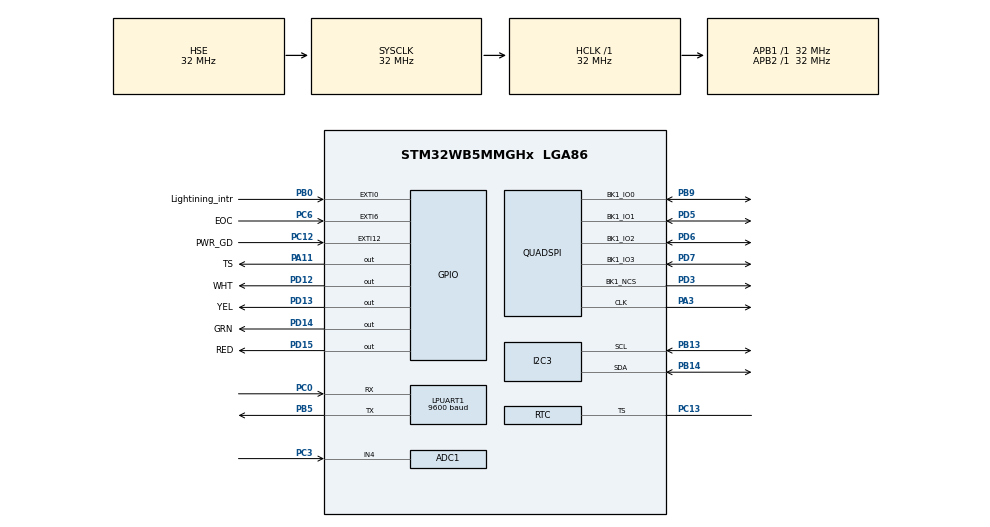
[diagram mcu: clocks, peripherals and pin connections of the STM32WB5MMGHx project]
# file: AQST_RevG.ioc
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ADC1.Channel-0\#ChannelRegularConversion=ADC_CHANNEL_4
ADC1.ClockPrescaler=ADC_CLOCK_SYNC_PCLK_DIV4
ADC1.ContinuousConvMode=DISABLE
ADC1.NbrOfConversion=1
ADC1.NbrOfConversionFlag=1
ADC1.SamplingTime-0\#ChannelRegularConversion=ADC_SAMPLETIME_92CYCLES_5
ADC1.master=1
Dma.ADC1.0.Direction=DMA_PERIPH_TO_MEMORY
Dma.ADC1.0.EventEnable=DISABLE
Dma.ADC1.0.Instance=DMA1_Channel1
Dma.ADC1.0.MemDataAlignment=DMA_MDATAALIGN_HALFWORD
Dma.ADC1.0.MemInc=DMA_MINC_ENABLE
Dma.ADC1.0.Mode=DMA_CIRCULAR
Dma.ADC1.0.PeriphDataAlignment=DMA_PDATAALIGN_HALFWORD
Dma.ADC1.0.PeriphInc=DMA_PINC_DISABLE
Dma.ADC1.0.Polarity=HAL_DMAMUX_REQ_GEN_RISING
Dma.ADC1.0.Priority=DMA_PRIORITY_HIGH
Dma.ADC1.0.RequestNumber=1
Dma.ADC1.0.SignalID=NONE
Dma.ADC1.0.SyncEnable=DISABLE
Dma.ADC1.0.SyncPolarity=HAL_DMAMUX_SYNC_NO_EVENT
Dma.ADC1.0.SyncRequestNumber=1
Dma.ADC1.0.SyncSignalID=NONE
Dma.Request0=ADC1
I2C3.Timing=0x00707CBB
LPUART1.BaudRate=9600
Mcu.Family=STM32WB
Mcu.Name=STM32WB5MMGHx
Mcu.Package=LGA86
NVIC.DMA1_Channel1_IRQn=true\:0\:0\:false\:false\:true\:false\:true\:true
NVIC.EXTI0_IRQn=true\:0\:0\:false\:false\:true\:true\:true\:true
NVIC.EXTI15_10_IRQn=true\:0\:0\:false\:false\:true\:true\:true\:true
NVIC.EXTI9_5_IRQn=true\:0\:0\:false\:false\:true\:true\:true\:true
NVIC.HSEM_IRQn=true\:0\:0\:false\:false\:true\:false\:true\:true
NVIC.IPCC_C1_RX_IRQn=true\:0\:0\:false\:false\:true\:true\:true\:true
NVIC.IPCC_C1_TX_IRQn=true\:0\:0\:false\:false\:true\:true\:true\:true
NVIC.PriorityGroup=NVIC_PRIORITYGROUP_4
NVIC.QUADSPI_IRQn=true\:0\:0\:false\:false\:true\:true\:true\:true
NVIC.RTC_WKUP_IRQn=true\:0\:0\:false\:false\:true\:true\:true\:true
NVIC.TAMP_STAMP_LSECSS_IRQn=true\:0\:0\:false\:false\:true\:true\:true\:true
PA11.GPIO_Label=TS
PA11.GPIO_ModeDefaultOutputPP=GPIO_MODE_OUTPUT_OD
PA11.GPIO_PuPd=GPIO_NOPULL
PA11.GPIO_Speed=GPIO_SPEED_FREQ_VERY_HIGH
PA11.PinState=GPIO_PIN_SET
PA11.Signal=GPIO_Output
PA3.Mode=Single Bank 1
PA3.Signal=QUADSPI_CLK
PB0.GPIO_Label=Lightining_intr
PB0.GPIO_PuPd=GPIO_PULLDOWN
PB0.Signal=GPXTI0
PB13.Mode=I2C
PB13.Signal=I2C3_SCL
PB14.Mode=I2C
PB14.Signal=I2C3_SDA
PB5.Mode=Asynchronous
PB5.Signal=LPUART1_TX
PB9.Mode=Single Bank 1
PB9.Signal=QUADSPI_BK1_IO0
PC0.Mode=Asynchronous
PC0.Signal=LPUART1_RX
PC12.GPIO_Label=PWR_GD
PC12.GPIO_ModeDefaultEXTI=GPIO_MODE_IT_RISING_FALLING
PC12.GPIO_PuPd=GPIO_NOPULL
PC12.Signal=GPXTI12
PC13.Mode=Timestamp enabled - Input Enabled to TS
PC13.Signal=RTC_TS
PC3.Signal=ADCx_IN4
PC6.GPIO_Label=EOC
PC6.GPIO_ModeDefaultEXTI=GPIO_MODE_IT_RISING_FALLING
PC6.Signal=GPXTI6
PD12.GPIO_Label=WHT
PD12.GPIO_Speed=GPIO_SPEED_FREQ_VERY_HIGH
PD12.PinState=GPIO_PIN_RESET
PD12.Signal=GPIO_Output
PD13.GPIO_Label=YEL
PD13.GPIO_Speed=GPIO_SPEED_FREQ_VERY_HIGH
PD13.PinState=GPIO_PIN_SET
PD13.Signal=GPIO_Output
PD14.GPIO_Label=GRN
PD14.PinState=GPIO_PIN_SET
PD14.Signal=GPIO_Output
PD15.GPIO_Label=RED
PD15.GPIO_Speed=GPIO_SPEED_FREQ_VERY_HIGH
PD15.PinState=GPIO_PIN_SET
PD15.Signal=GPIO_Output
PD3.Mode=Single Bank 1
PD3.Signal=QUADSPI_BK1_NCS
PD5.Mode=Single Bank 1
PD5.Signal=QUADSPI_BK1_IO1
PD6.Mode=Single Bank 1
PD6.Signal=QUADSPI_BK1_IO2
PD7.Mode=Single Bank 1
PD7.Signal=QUADSPI_BK1_IO3
ProjectManager.HeapSize=0x200
ProjectManager.StackSize=0x400
ProjectManager.TargetToolchain=STM32CubeIDE
QUADSPI.ClockPrescaler=2
QUADSPI.FifoThreshold=4
QUADSPI.FlashSize=20
RCC.ADCFreq_Value=48000000
RCC.AHBFreq_Value=32000000
RCC.APB1Freq_Value=32000000
RCC.APB1TimFreq_Value=32000000
RCC.APB2Freq_Value=32000000
RCC.APB2TimFreq_Value=32000000
RCC.APB3Freq_Value=16000000
RCC.CortexFreq_Value=32000000
RCC.HCLKFreq_Value=32000000
RCC.HSE_VALUE=32000000
RCC.HSI48_VALUE=48000000
RCC.HSI_VALUE=16000000
RCC.PLLSAI1N=24
RCC.RFWKPClockSelection=RCC_RFWKPCLKSOURCE_LSE
RCC.RTCClockSelection=RCC_RTCCLKSOURCE_LSE
RCC.SMPSCLockSelectionVirtual=RCC_SMPSCLKSOURCE_HSE
RCC.SMPSDivider=4
RCC.SYSCLKFreq_VALUE=32000000
RCC.SYSCLKSource=RCC_SYSCLKSOURCE_HSE
RCC.USBFreq_Value=48000000
RCC.VCOOutputFreq_Value=32000000
RTC.Format=RTC_FORMAT_BCD
SH.ADCx_IN4.0=ADC1_IN4,IN4-Single-Ended
STM32_WPAN.AD_SERVICE_CLASS_UUID_1=18 0F
STM32_WPAN.AD_SERVICE_CLASS_UUID_1_INV=[0F, 18]
STM32_WPAN.AD_TYPE_APPEARANCE=0x02, 0x00 /* GENERIC_TAG_APPEARANCE */
STM32_WPAN.AD_TYPE_MANUFACTURER_DATA_NBR=6
STM32_WPAN.AD_TYPE_MANUFACTURER_SPECIFIC_DATA_COMPANY_IDENTIFIER=00,00
STM32_WPAN.AD_TYPE_SHORTENED_LOCAL_NAME=AQST
STM32_WPAN.AD_TYPE_SLAVE_CONN_INTERVAL_MIN_MAX=1
STM32_WPAN.CFG_BLE_DATA_LENGTH_EXTENSION=0
STM32_WPAN.CFG_BLE_NUM_LINK=8
STM32_WPAN.CFG_BLE_OPTIONS_DEVICE_NAME=SHCI_C2_BLE_INIT_OPTIONS_DEVICE_NAME_RO
STM32_WPAN.CFG_BONDING_MODE=1
STM32_WPAN.CFG_DEBUGGER_SUPPORTED=0
STM32_WPAN.CFG_GAP_DEVICE_NAME=AQST
STM32_WPAN.CFG_GAP_DEVICE_NAME_LENGTH=4
STM32_WPAN.CFG_HW_RESET_BY_FW=1
STM32_WPAN.CFG_HW_TS_MAX_NBR_CONCURRENT_TIMER=20
STM32_WPAN.CFG_HW_TS_NVIC_RTC_WAKEUP_IT_PREEMPTPRIO=3
STM32_WPAN.CFG_IO_CAPABILITY=CFG_IO_CAPABILITY_DISPLAY_ONLY
STM32_WPAN.CFG_LPM_SUPPORTED=1
STM32_WPAN.CFG_TX_POWER=(0x1F) /* 6dBm */
STM32_WPAN.CFG_USE_SMPS=1
STM32_WPAN.CUSTOM_P2P_SERVER=Disabled
STM32_WPAN.CUSTOM_TEMPLATE=Enabled
STM32_WPAN.DBG_TRACE_USE_CIRCULAR_QUEUE=0
STM32_WPAN.GAP_BROADCASTER_ROLE=0
STM32_WPAN.GAP_CENTRAL_ROLE=0
STM32_WPAN.GAP_PERIPHERAL_ROLE=1
STM32_WPAN.INCLUDE_AD_TYPE_16_BIT_SERV_UUID_CMPLT_LIST=1
STM32_WPAN.INCLUDE_AD_TYPE_ADVERTISING_INTERVAL=0
STM32_WPAN.INCLUDE_AD_TYPE_APPEARANCE=1
STM32_WPAN.INCLUDE_AD_TYPE_COMPLETE_LOCAL_NAME=0
STM32_WPAN.INCLUDE_AD_TYPE_LE_ROLE=0
STM32_WPAN.INCLUDE_AD_TYPE_MANUFACTURER_SPECIFIC_DATA=1
STM32_WPAN.INCLUDE_AD_TYPE_SHORTENED_LOCAL_NAME=0
STM32_WPAN.INCLUDE_AD_TYPE_SLAVE_CONN_INTERVAL=0
STM32_WPAN.INCLUDE_AD_TYPE_TX_POWER_LEVEL=1
STM32_WPAN.INCLUDE_AD_TYPE_URI=0
STM32_WPAN.NUMBER_OF_SERVICES=5
STM32_WPAN.PAIRING_PARAMETERS=ON
STM32_WPAN.SERVICE1_CHAR1_GATT_NOTIFY_ATTRIBUTE_WRITE=GATT_NOTIFY_ATTRIBUTE_WRITE
STM32_WPAN.SERVICE1_CHAR1_GATT_NOTIFY_WRITE_REQ_AND_WAIT_FOR_APPL_RESP=\ 
STM32_WPAN.SERVICE1_CHAR1_LONG_NAME=Battery_percentage
STM32_WPAN.SERVICE1_CHAR1_PROP_NOTIFY=CHAR_PROP_NOTIFY
STM32_WPAN.SERVICE1_CHAR1_PROP_READ=CHAR_PROP_READ
STM32_WPAN.SERVICE1_CHAR1_SHORT_NAME=Bat_Level
STM32_WPAN.SERVICE1_CHAR1_UUID=2A 19
STM32_WPAN.SERVICE1_CHAR1_UUID_128_INPUT_TYPE=0
STM32_WPAN.SERVICE1_CHAR2_GATT_NOTIFY_READ_REQ_AND_WAIT_FOR_APPL_RESP=\ 
STM32_WPAN.SERVICE1_CHAR2_GATT_NOTIFY_WRITE_REQ_AND_WAIT_FOR_APPL_RESP=\ 
STM32_WPAN.SERVICE1_CHAR2_LONG_NAME=EOC
STM32_WPAN.SERVICE1_CHAR2_PROP_NOTIFY=CHAR_PROP_NOTIFY
STM32_WPAN.SERVICE1_CHAR2_SHORT_NAME=EOC
STM32_WPAN.SERVICE1_CHAR2_UUID=0E 64 8E 95 13 0A 46 CD 80 3A F8 38 43 39 16 F0
STM32_WPAN.SERVICE1_CHAR2_UUID_128_INPUT_TYPE=1
STM32_WPAN.SERVICE1_CHAR2_UUID_TYPE=0x02
STM32_WPAN.SERVICE1_CHAR3_GATT_NOTIFY_READ_REQ_AND_WAIT_FOR_APPL_RESP=\ 
STM32_WPAN.SERVICE1_CHAR3_GATT_NOTIFY_WRITE_REQ_AND_WAIT_FOR_APPL_RESP=\ 
STM32_WPAN.SERVICE1_CHAR3_LONG_NAME=PWR_Good
STM32_WPAN.SERVICE1_CHAR3_PROP_NOTIFY=CHAR_PROP_NOTIFY
STM32_WPAN.SERVICE1_CHAR3_SHORT_NAME=PWR_GD
STM32_WPAN.SERVICE1_CHAR3_UUID=4D 1E 5A 50 8D B1 45 E2 AE D9 66 FB 85 48 32 14
STM32_WPAN.SERVICE1_CHAR3_UUID_128_INPUT_TYPE=1
STM32_WPAN.SERVICE1_LONG_NAME=Battery_Service
STM32_WPAN.SERVICE1_NUMBER_OF_CHARACTERISTICS=3
STM32_WPAN.SERVICE1_SHORT_NAME=Bat
STM32_WPAN.SERVICE1_UUID=18 0F
STM32_WPAN.SERVICE2_CHAR1_GATT_NOTIFY_READ_REQ_AND_WAIT_FOR_APPL_RESP=\ 
STM32_WPAN.SERVICE2_CHAR1_GATT_NOTIFY_WRITE_REQ_AND_WAIT_FOR_APPL_RESP=\ 
STM32_WPAN.SERVICE2_CHAR1_LONG_NAME=IAQ_Index
STM32_WPAN.SERVICE2_CHAR1_PROP_NOTIFY=CHAR_PROP_NOTIFY
STM32_WPAN.SERVICE2_CHAR1_SHORT_NAME=IAQ_in
STM32_WPAN.SERVICE2_CHAR1_UUID=1B 8E 53 B4 12 44 48 0C A5 23 78 43 8C C7 34 53
STM32_WPAN.SERVICE2_CHAR1_UUID_128_INPUT_TYPE=1
STM32_WPAN.SERVICE2_CHAR1_VALUE_LENGTH=4
STM32_WPAN.SERVICE2_CHAR2_GATT_NOTIFY_READ_REQ_AND_WAIT_FOR_APPL_RESP=\ 
STM32_WPAN.SERVICE2_CHAR2_GATT_NOTIFY_WRITE_REQ_AND_WAIT_FOR_APPL_RESP=\ 
STM32_WPAN.SERVICE2_CHAR2_LONG_NAME=Relative_IAQ_Index
STM32_WPAN.SERVICE2_CHAR2_PROP_NOTIFY=CHAR_PROP_NOTIFY
STM32_WPAN.SERVICE2_CHAR2_SHORT_NAME=Relative_IA
STM32_WPAN.SERVICE2_CHAR2_UUID=1C 8E 53 B4 12 44 48 0C A5 23 78 43 8C C7 34 53
STM32_WPAN.SERVICE2_CHAR2_UUID_128_INPUT_TYPE=1
STM32_WPAN.SERVICE2_CHAR2_VALUE_LENGTH=4
STM32_WPAN.SERVICE2_CHAR3_GATT_NOTIFY_READ_REQ_AND_WAIT_FOR_APPL_RESP=\ 
STM32_WPAN.SERVICE2_CHAR3_GATT_NOTIFY_WRITE_REQ_AND_WAIT_FOR_APPL_RESP=\ 
STM32_WPAN.SERVICE2_CHAR3_LONG_NAME=TVOC
STM32_WPAN.SERVICE2_CHAR3_PROP_NOTIFY=CHAR_PROP_NOTIFY
STM32_WPAN.SERVICE2_CHAR3_SHORT_NAME=TVOC
STM32_WPAN.SERVICE2_CHAR3_UUID=1D 8E 53 B4 12 44 48 0C A5 23 78 43 8C C7 34 53
STM32_WPAN.SERVICE2_CHAR3_UUID_128_INPUT_TYPE=1
STM32_WPAN.SERVICE2_CHAR3_VALUE_LENGTH=4
STM32_WPAN.SERVICE2_CHAR4_GATT_NOTIFY_READ_REQ_AND_WAIT_FOR_APPL_RESP=\ 
STM32_WPAN.SERVICE2_CHAR4_GATT_NOTIFY_WRITE_REQ_AND_WAIT_FOR_APPL_RESP=\ 
STM32_WPAN.SERVICE2_CHAR4_LONG_NAME=ETOH
STM32_WPAN.SERVICE2_CHAR4_PROP_NOTIFY=CHAR_PROP_NOTIFY
STM32_WPAN.SERVICE2_CHAR4_SHORT_NAME=ETOH
STM32_WPAN.SERVICE2_CHAR4_UUID=1E 8E 53 B4 12 44 48 0C A5 23 78 43 8C C7 34 53
STM32_WPAN.SERVICE2_CHAR4_UUID_128_INPUT_TYPE=1
STM32_WPAN.SERVICE2_CHAR4_VALUE_LENGTH=4
STM32_WPAN.SERVICE2_CHAR5_GATT_NOTIFY_READ_REQ_AND_WAIT_FOR_APPL_RESP=\ 
STM32_WPAN.SERVICE2_CHAR5_GATT_NOTIFY_WRITE_REQ_AND_WAIT_FOR_APPL_RESP=\ 
STM32_WPAN.SERVICE2_CHAR5_LONG_NAME=ECO2
STM32_WPAN.SERVICE2_CHAR5_PROP_NOTIFY=CHAR_PROP_NOTIFY
STM32_WPAN.SERVICE2_CHAR5_SHORT_NAME=CO2
STM32_WPAN.SERVICE2_CHAR5_UUID=55 CA BE AB 9E 30 4B 4E 8A C5 DB F2 E8 74 A9 4C
STM32_WPAN.SERVICE2_CHAR5_UUID_128_INPUT_TYPE=1
STM32_WPAN.SERVICE2_CHAR5_VALUE_LENGTH=4
STM32_WPAN.SERVICE2_LONG_NAME=Gases
STM32_WPAN.SERVICE2_NUMBER_OF_CHARACTERISTICS=5
STM32_WPAN.SERVICE2_SHORT_NAME=Gas
STM32_WPAN.SERVICE2_UUID=E9 D8 FD 7C BE 97 49 FF 93 31 43 B2 C8 1A F4 F6
STM32_WPAN.SERVICE2_UUID_128_INPUT_TYPE=1
STM32_WPAN.SERVICE3_CHAR1_GATT_NOTIFY_READ_REQ_AND_WAIT_FOR_APPL_RESP=\ 
STM32_WPAN.SERVICE3_CHAR1_GATT_NOTIFY_WRITE_REQ_AND_WAIT_FOR_APPL_RESP=\ 
STM32_WPAN.SERVICE3_CHAR1_LONG_NAME=Temperature
STM32_WPAN.SERVICE3_CHAR1_PROP_NOTIFY=CHAR_PROP_NOTIFY
STM32_WPAN.SERVICE3_CHAR1_SHORT_NAME=Temp
STM32_WPAN.SERVICE3_CHAR1_UUID=0E 3B 77 CC 2C AC 43 79 86 A2 67 18 AB 54 07 CB
STM32_WPAN.SERVICE3_CHAR1_UUID_128_INPUT_TYPE=1
STM32_WPAN.SERVICE3_CHAR1_VALUE_LENGTH=4
STM32_WPAN.SERVICE3_CHAR2_GATT_NOTIFY_READ_REQ_AND_WAIT_FOR_APPL_RESP=\ 
STM32_WPAN.SERVICE3_CHAR2_GATT_NOTIFY_WRITE_REQ_AND_WAIT_FOR_APPL_RESP=\ 
STM32_WPAN.SERVICE3_CHAR2_LONG_NAME=Humidity
STM32_WPAN.SERVICE3_CHAR2_PROP_NOTIFY=CHAR_PROP_NOTIFY
STM32_WPAN.SERVICE3_CHAR2_SHORT_NAME=Humi
STM32_WPAN.SERVICE3_CHAR2_UUID=56 1D F5 2B 92 59 45 C9 9F 33 19 EE 10 54 CB BA
STM32_WPAN.SERVICE3_CHAR2_UUID_128_INPUT_TYPE=1
STM32_WPAN.SERVICE3_CHAR2_VALUE_LENGTH=4
STM32_WPAN.SERVICE3_CHAR3_GATT_NOTIFY_READ_REQ_AND_WAIT_FOR_APPL_RESP=\ 
STM32_WPAN.SERVICE3_CHAR3_GATT_NOTIFY_WRITE_REQ_AND_WAIT_FOR_APPL_RESP=\ 
STM32_WPAN.SERVICE3_CHAR3_LONG_NAME=Pressure
STM32_WPAN.SERVICE3_CHAR3_PROP_NOTIFY=CHAR_PROP_NOTIFY
STM32_WPAN.SERVICE3_CHAR3_SHORT_NAME=Pres
STM32_WPAN.SERVICE3_CHAR3_UUID=C2 8E 1B EF 50 33 41 36 A3 3E 67 6F 41 8B 9A 06
STM32_WPAN.SERVICE3_CHAR3_UUID_128_INPUT_TYPE=1
STM32_WPAN.SERVICE3_CHAR3_VALUE_LENGTH=4
STM32_WPAN.SERVICE3_CHAR4_GATT_NOTIFY_READ_REQ_AND_WAIT_FOR_APPL_RESP=\ 
STM32_WPAN.SERVICE3_CHAR4_GATT_NOTIFY_WRITE_REQ_AND_WAIT_FOR_APPL_RESP=\ 
STM32_WPAN.SERVICE3_CHAR4_LENGTH_CHARACTERISTIC=CHAR_VALUE_LEN_VARIABLE
STM32_WPAN.SERVICE3_CHAR4_LONG_NAME=Get_ENV_log
STM32_WPAN.SERVICE3_CHAR4_PROP_NOTIFY=CHAR_PROP_NOTIFY
STM32_WPAN.SERVICE3_CHAR4_SHORT_NAME=Get_ENV_log
STM32_WPAN.SERVICE3_CHAR4_UUID=54 BE F3 60 C7 91 4F F5 B9 C7 C9 3F 65 2B 36 1C
STM32_WPAN.SERVICE3_CHAR4_UUID_128_INPUT_TYPE=1
STM32_WPAN.SERVICE3_CHAR4_VALUE_LENGTH=247
STM32_WPAN.SERVICE3_LONG_NAME=Enviroment
STM32_WPAN.SERVICE3_NUMBER_OF_CHARACTERISTICS=4
STM32_WPAN.SERVICE3_SHORT_NAME=Env
STM32_WPAN.SERVICE3_UUID=E9 D8 FD 7C BE 97 49 FF 93 31 43 B2 C8 1A F4 F6
STM32_WPAN.SERVICE3_UUID_128_INPUT_TYPE=1
STM32_WPAN.SERVICE4_CHAR1_GATT_NOTIFY_ATTRIBUTE_WRITE=GATT_NOTIFY_ATTRIBUTE_WRITE
STM32_WPAN.SERVICE4_CHAR1_GATT_NOTIFY_READ_REQ_AND_WAIT_FOR_APPL_RESP=\ 
STM32_WPAN.SERVICE4_CHAR1_GATT_NOTIFY_WRITE_REQ_AND_WAIT_FOR_APPL_RESP=\ 
STM32_WPAN.SERVICE4_CHAR1_LENGTH_CHARACTERISTIC=CHAR_VALUE_LEN_VARIABLE
STM32_WPAN.SERVICE4_CHAR1_LONG_NAME=Get_Lightning_log
STM32_WPAN.SERVICE4_CHAR1_PROP_NOTIFY=CHAR_PROP_NOTIFY
STM32_WPAN.SERVICE4_CHAR1_SHORT_NAME=Get_Lightning_log
STM32_WPAN.SERVICE4_CHAR1_UUID=D6 90 B7 73 89 28 4F 22 88 59 F7 DC 39 1D 26 B8
STM32_WPAN.SERVICE4_CHAR1_UUID_128_INPUT_TYPE=1
STM32_WPAN.SERVICE4_CHAR1_VALUE_LENGTH=240
STM32_WPAN.SERVICE4_CHAR2_GATT_NOTIFY_READ_REQ_AND_WAIT_FOR_APPL_RESP=\ 
STM32_WPAN.SERVICE4_CHAR2_GATT_NOTIFY_WRITE_REQ_AND_WAIT_FOR_APPL_RESP=\ 
STM32_WPAN.SERVICE4_CHAR2_LONG_NAME=Strike_distance
STM32_WPAN.SERVICE4_CHAR2_PROP_NOTIFY=CHAR_PROP_NOTIFY
STM32_WPAN.SERVICE4_CHAR2_SHORT_NAME=Strike_distance
STM32_WPAN.SERVICE4_CHAR2_UUID=0D F9 40 6C 36 7D 4E 69 B0 81 B5 BB E4 33 82 1F
STM32_WPAN.SERVICE4_CHAR2_UUID_128_INPUT_TYPE=1
STM32_WPAN.SERVICE4_LONG_NAME=Lightining_Strike
STM32_WPAN.SERVICE4_NUMBER_OF_CHARACTERISTICS=2
STM32_WPAN.SERVICE4_SHORT_NAME=Lightining
STM32_WPAN.SERVICE4_UUID=E2 51 F8 CC EF F0 4B BB B6 AA AE 02 D7 27 EA EE
STM32_WPAN.SERVICE4_UUID_128_INPUT_TYPE=1
STM32_WPAN.SERVICE5_CHAR1_GATT_NOTIFY_ATTRIBUTE_WRITE=\ 
STM32_WPAN.SERVICE5_CHAR1_LONG_NAME=Time
STM32_WPAN.SERVICE5_CHAR1_PROP_READ=CHAR_PROP_READ
STM32_WPAN.SERVICE5_CHAR1_PROP_WRITE_WITHOUT_RESP=CHAR_PROP_WRITE_WITHOUT_RESP
STM32_WPAN.SERVICE5_CHAR1_SHORT_NAME=Time
STM32_WPAN.SERVICE5_CHAR1_UUID=53 03 0C D0 16 E6 44 3A 92 4D 9F 6D 53 28 85 BD
STM32_WPAN.SERVICE5_CHAR1_UUID_128_INPUT_TYPE=1
STM32_WPAN.SERVICE5_CHAR1_VALUE_LENGTH=7
STM32_WPAN.SERVICE5_CHAR2_GATT_NOTIFY_READ_REQ_AND_WAIT_FOR_APPL_RESP=\ 
STM32_WPAN.SERVICE5_CHAR2_GATT_NOTIFY_WRITE_REQ_AND_WAIT_FOR_APPL_RESP=\ 
STM32_WPAN.SERVICE5_CHAR2_LONG_NAME=Log_data_tx_status
STM32_WPAN.SERVICE5_CHAR2_PROP_NOTIFY=CHAR_PROP_NOTIFY
STM32_WPAN.SERVICE5_CHAR2_SHORT_NAME=Log_data_tx_status
STM32_WPAN.SERVICE5_CHAR2_UUID=DB 4A 9C E5 F8 5C 49 99 84 E7 52 B0 67 C8 3B C1
STM32_WPAN.SERVICE5_CHAR2_UUID_128_INPUT_TYPE=1
STM32_WPAN.SERVICE5_CHAR3_GATT_NOTIFY_ATTRIBUTE_WRITE=\ 
STM32_WPAN.SERVICE5_CHAR3_GATT_NOTIFY_READ_REQ_AND_WAIT_FOR_APPL_RESP=\ 
STM32_WPAN.SERVICE5_CHAR3_LONG_NAME=OTA
STM32_WPAN.SERVICE5_CHAR3_PROP_WRITE_WITHOUT_RESP=CHAR_PROP_WRITE_WITHOUT_RESP
STM32_WPAN.SERVICE5_CHAR3_SHORT_NAME=OTA
STM32_WPAN.SERVICE5_CHAR3_UUID=00 00 FE 24 8E 22 45 41 9D 4C 21 ED AE 82 ED 19
STM32_WPAN.SERVICE5_CHAR3_UUID_128_INPUT_TYPE=1
STM32_WPAN.SERVICE5_CHAR3_VALUE_LENGTH=3
STM32_WPAN.SERVICE5_LONG_NAME=Utilities
STM32_WPAN.SERVICE5_NUMBER_OF_CHARACTERISTICS=3
STM32_WPAN.SERVICE5_SHORT_NAME=Utility
STM32_WPAN.SERVICE5_UUID=1E 0A 99 E7 5F A1 4E F6 A7 D9 93 6B 78 88 DC 95
STM32_WPAN.SERVICE5_UUID_128_INPUT_TYPE=1
VP_ADC1_Vref_Input.Mode=IN-Vrefint
VP_HSEM_VS_HSEM.Mode=HSEM_Activate
VP_IPCC_VS_IPCC.Mode=IPCC_Activate
VP_MEMORYMAP_VS_MEMORYMAP.Mode=CurAppReg
VP_RCC_V_OSC32_IN.Mode=LSE-External-Clock-Source
VP_RCC_V_OSC_IN.Mode=HSE-External-Clock-Source
VP_RF_VS_RF.Mode=RF_Activate
VP_RTC_VS_RTC_Activate.Mode=RTC_Enabled
VP_RTC_VS_RTC_Calendar.Mode=RTC_Calendar
VP_RTC_VS_RTC_WakeUp_intern.Mode=WakeUp
VP_SEQUENCER_VS_SEQUENCER.Mode=SEQUENCER_Enabled
VP_STM32_WPAN_VS_BLE_HOST.Mode=STM32_WPAN_Enabled
VP_TINY_LPM_VS_TINY_LPM.Mode=TINY_LPM_Enabled
board=STM32WB5MM-DK

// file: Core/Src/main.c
/* USER CODE BEGIN Header */
/**
  ******************************************************************************
  * @file           : main.c
  * @brief          : Main program body
  ******************************************************************************
  * @attention
  *
  * Copyright (c) 2024 STMicroelectronics.
  * All rights reserved.
  *
  * This software is licensed under terms that can be found in the LICENSE file
  * in the root directory of this software component.
  * If no LICENSE file comes with this software, it is provided AS-IS.
  *
  ******************************************************************************
  */
/* USER CODE END Header */
#include "main.h"
#include "adc.h"
#include "dma.h"
#include "i2c.h"
#include "ipcc.h"
#include "usart.h"
#include "memorymap.h"
#include "quadspi.h"
#include "rf.h"
#include "rtc.h"
#include "gpio.h"

/* USER CODE BEGIN PD */
#if defined(__ICCARM__)
/* New definition from EWARM V9, compatible with EWARM8 */
int iar_fputc(int ch);
#define PUTCHAR_PROTOTYPE int iar_fputc(int ch)
#define GETCHAR_PROTOTYPE int fgetc(FILE *f)
#elif defined (__CC_ARM) || defined(__ARMCC_VERSION)
/* ARM Compiler 5/6 */
#define PUTCHAR_PROTOTYPE int fputc(int ch, FILE *f)
#define GETCHAR_PROTOTYPE int fgetc(FILE *f)
#elif defined(__GNUC__)
int __io_putchar(int ch);
#define PUTCHAR_PROTOTYPE int __io_putchar(int ch)
int __io_getchar(void);
#define GETCHAR_PROTOTYPE int __io_getchar(void)
#endif/* __ICCARM__ */
/* USER CODE END PD */

void SystemClock_Config(void);
void PeriphCommonClock_Config(void);

int main(void)
{

  /* MCU Configuration--------------------------------------------------------*/

  /* Reset of all peripherals, Initializes the Flash interface and the Systick. */
  HAL_Init();
  /* Config code for STM32_WPAN (HSE Tuning must be done before system clock configuration) */
  MX_APPE_Config();

  /* Configure the system clock */
  SystemClock_Config();

/* Configure the peripherals common clocks */
  PeriphCommonClock_Config();

  /* IPCC initialisation */
  MX_IPCC_Init();

  /* Initialize all configured peripherals */

  MX_DMA_Init();
  MX_RTC_Init();
  MX_I2C3_Init();
  MX_QUADSPI_Init();
  MX_ADC1_Init();
  MX_LPUART1_UART_Init();
  MX_RF_Init();
  /* USER CODE BEGIN 2 */
  AS3935_Init();
  MX_GPIO_Init();
  HAL_GPIO_WritePin(GPIOA,TS_Pin,GPIO_PIN_SET);
  /* USER CODE END 2 */

  /* Init code for STM32_WPAN */
  MX_APPE_Init();

  /* Infinite loop */
  while (1)
  {
    MX_APPE_Process();

  }
}

void SystemClock_Config(void)
{
  RCC_OscInitTypeDef RCC_OscInitStruct = {0};
  RCC_ClkInitTypeDef RCC_ClkInitStruct = {0};

  /** Macro to configure the PLL multiplication factor
  */
  __HAL_RCC_PLL_PLLM_CONFIG(RCC_PLLM_DIV1);

  /** Macro to configure the PLL clock source
  */
  __HAL_RCC_PLL_PLLSOURCE_CONFIG(RCC_PLLSOURCE_MSI);

  /** Configure LSE Drive Capability
  */
  HAL_PWR_EnableBkUpAccess();
  __HAL_RCC_LSEDRIVE_CONFIG(RCC_LSEDRIVE_MEDIUMHIGH);

  /** Configure the main internal regulator output voltage
  */
  __HAL_PWR_VOLTAGESCALING_CONFIG(PWR_REGULATOR_VOLTAGE_SCALE1);

  /** Initializes the RCC Oscillators according to the specified parameters
  * in the RCC_OscInitTypeDef structure.
  */
  RCC_OscInitStruct.OscillatorType = RCC_OSCILLATORTYPE_HSI|RCC_OSCILLATORTYPE_HSE
                              |RCC_OSCILLATORTYPE_LSE|RCC_OSCILLATORTYPE_MSI;
  RCC_OscInitStruct.HSEState = RCC_HSE_ON;
  RCC_OscInitStruct.LSEState = RCC_LSE_ON;
  RCC_OscInitStruct.HSIState = RCC_HSI_ON;
  RCC_OscInitStruct.MSIState = RCC_MSI_ON;
  RCC_OscInitStruct.HSICalibrationValue = RCC_HSICALIBRATION_DEFAULT;
  RCC_OscInitStruct.MSICalibrationValue = RCC_MSICALIBRATION_DEFAULT;
  RCC_OscInitStruct.MSIClockRange = RCC_MSIRANGE_6;
  RCC_OscInitStruct.PLL.PLLState = RCC_PLL_NONE;
  if (HAL_RCC_OscConfig(&RCC_OscInitStruct) != HAL_OK)
  {
    Error_Handler();
  }

  /** Configure the SYSCLKSource, HCLK, PCLK1 and PCLK2 clocks dividers
  */
  RCC_ClkInitStruct.ClockType = RCC_CLOCKTYPE_HCLK4|RCC_CLOCKTYPE_HCLK2
                              |RCC_CLOCKTYPE_HCLK|RCC_CLOCKTYPE_SYSCLK
                              |RCC_CLOCKTYPE_PCLK1|RCC_CLOCKTYPE_PCLK2;
  RCC_ClkInitStruct.SYSCLKSource = RCC_SYSCLKSOURCE_HSE;
  RCC_ClkInitStruct.AHBCLKDivider = RCC_SYSCLK_DIV1;
  RCC_ClkInitStruct.APB1CLKDivider = RCC_HCLK_DIV1;
  RCC_ClkInitStruct.APB2CLKDivider = RCC_HCLK_DIV1;
  RCC_ClkInitStruct.AHBCLK2Divider = RCC_SYSCLK_DIV1;
  RCC_ClkInitStruct.AHBCLK4Divider = RCC_SYSCLK_DIV1;

  if (HAL_RCC_ClockConfig(&RCC_ClkInitStruct, FLASH_LATENCY_1) != HAL_OK)
  {
    Error_Handler();
  }
}

void PeriphCommonClock_Config(void)
{
  RCC_PeriphCLKInitTypeDef PeriphClkInitStruct = {0};

  /** Initializes the peripherals clock
  */
  PeriphClkInitStruct.PeriphClockSelection = RCC_PERIPHCLK_SMPS|RCC_PERIPHCLK_RFWAKEUP;
  PeriphClkInitStruct.RFWakeUpClockSelection = RCC_RFWKPCLKSOURCE_LSE;
  PeriphClkInitStruct.SmpsClockSelection = RCC_SMPSCLKSOURCE_HSE;
  PeriphClkInitStruct.SmpsDivSelection = RCC_SMPSCLKDIV_RANGE1;

  if (HAL_RCCEx_PeriphCLKConfig(&PeriphClkInitStruct) != HAL_OK)
  {
    Error_Handler();
  }
}

/* USER CODE BEGIN 4 */
#if defined(__ICCARM__)
/**
  * @brief  Retargets the C library __write function to the IAR function iar_fputc.
  * @param  file: file descriptor.
  * @param  ptr: pointer to the buffer where the data is stored.
  * @param  len: length of the data to write in bytes.
  * @retval length of the written data in bytes.
  */
size_t __write(int file, unsigned char const *ptr, size_t len)
{
  size_t idx;
  unsigned char const *pdata = ptr;

  for (idx = 0; idx < len; idx++)
  {
    iar_fputc((int)*pdata);
    pdata++;
  }
  return len;
}
#endif /* __ICCARM__ */

/**
  * @brief  Retargets the C library printf function to the USART.
  * @param  None
  * @retval None
  */
PUTCHAR_PROTOTYPE
{
  /* Place your implementation of fputc here */
  /* e.g. write a character to the USART1 and Loop until the end of transmission */
  HAL_UART_Transmit(&hlpuart1, (uint8_t *)&ch, 1, 0xFFFF);

  return ch;
}

GETCHAR_PROTOTYPE
{
  uint8_t ch = 0;
  /* Place your implementation of fgetc here */

  /* Clear the Overrun flag just before receiving the first character */
  __HAL_UART_CLEAR_OREFLAG(&hlpuart1);

  /* Wait for reception of a character on the USART1 RX line
     and echo this character on console */
  HAL_UART_Receive(&hlpuart1, (uint8_t *)&ch, 1, 0xFFFF);
  HAL_UART_Transmit(&hlpuart1, (uint8_t *)&ch, 1, 0xFFFF);
  return ch;
}
/* USER CODE END 4 */

void Error_Handler(void)
{
  __disable_irq();
  while (1)
  {
  }
}
